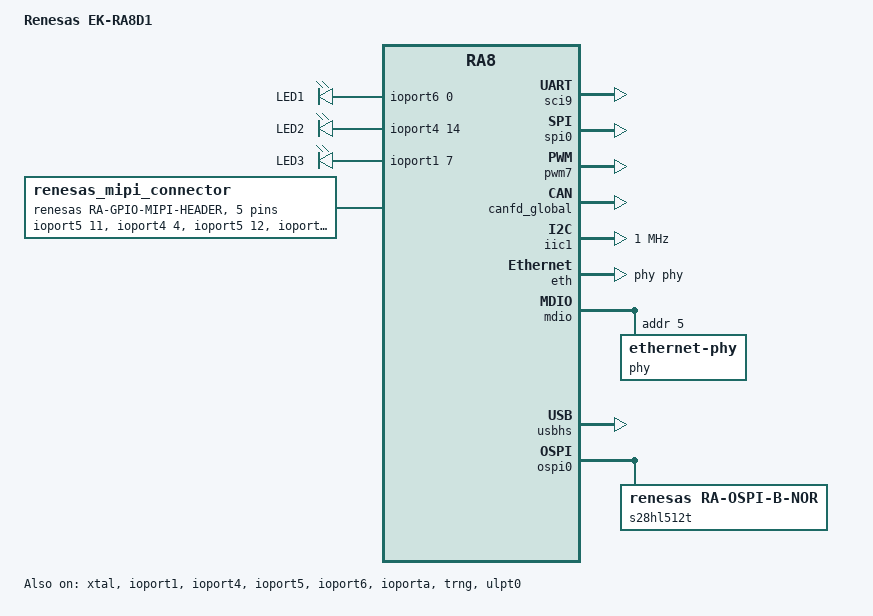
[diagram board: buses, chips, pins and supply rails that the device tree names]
/*
 * Copyright (c) 2024 Renesas Electronics Corporation
 * SPDX-License-Identifier: Apache-2.0
 */

/dts-v1/;

#include <renesas/ra/ra8/r7fa8d1bhecbd.dtsi>
#include <zephyr/dt-bindings/flash_controller/ospi.h>
#include <dt-bindings/gpio/gpio.h>

#include "ek_ra8d1-pinctrl.dtsi"

/ {
	model = "Renesas EK-RA8D1";
	compatible = "renesas,ra8d1", "renesas,ra8";

	chosen {
		zephyr,sram = &sram0;
		zephyr,flash = &flash0;
		zephyr,console = &uart9;
		zephyr,shell-uart = &uart9;
		zephyr,entropy = &trng;
		zephyr,flash-controller = &flash1;
		zephyr,canbus = &canfd0;
	};

	leds {
		compatible = "gpio-leds";
		led1: led1 {
			gpios = <&ioport6 0 GPIO_ACTIVE_HIGH>;
			label = "LED1";
		};
		led2: led2 {
			gpios = <&ioport4 14 GPIO_ACTIVE_HIGH>;
			label = "LED2";
		};
		led3: led3 {
			gpios = <&ioport1 7 GPIO_ACTIVE_HIGH>;
			label = "LED3";
		};
	};

	renesas_mipi_connector: mipi-connector {
		compatible = "renesas,ra-gpio-mipi-header";
		#gpio-cells = <2>;
		gpio-map-mask = <0xffffffff 0xffffffc0>;
		gpio-map-pass-thru = <0 0x3f>;
		gpio-map =	<14 0 &ioport5 11 0>,	/* IIC_SDA */
					<15 0 &ioport4 4 0>,	/* DISP_BLEN */
					<16 0 &ioport5 12 0>,	/* IIC_SCL */
					<17 0 &ioport5 10 0>,	/* DISP_INT */
					<18 0 &ioporta 1 0>;	/* DISP_RST */
	};

	aliases {
		led0 = &led1;
		mipi-dsi = &mipi_dsi;
	};
};

&xtal {
	clock-frequency = <DT_FREQ_M(20)>;
	mosel = <0>;
	#clock-cells = <0>;
	status = "okay";
};

&subclk {
	status = "okay";
};

&pll {
	status = "okay";
	pllp {
		status = "okay";
	};

	pllq {
		status = "okay";
	};

	pllr {
		status = "okay";
	};
};

&pll2 {
	status = "okay";
	clocks = <&xtal>;
	div = <2>;
	mul = <80 0>;
	pll2p {
		status = "okay";
		freq = <DT_FREQ_M(400)>;
		div = <2>;
	};
};

&sciclk {
	clocks = <&pllp>;
	div = <4>;
	status = "okay";
};

&canfdclk {
	clocks = <&pll>;
	div = <5>;
	status = "okay";
};

&lcdclk {
	clocks = <&pll>;
	div = <2>;
	status = "okay";
};

&octaspiclk {
	clocks = <&pll2p>;
	div = <2>;
	status = "okay";
};

&ioport1 {
	status = "okay";
};

&ioport4 {
	status = "okay";
};

&ioport5 {
	status = "okay";
};

&ioport6 {
	status = "okay";
};

&ioporta {
	status = "okay";
};

&sci0 {
	/* sci0 and spi0 cannot be enabled together */
	pinctrl-0 = <&sci9_default>;
	pinctrl-names = "default";
};

&sci9 {
	pinctrl-0 = <&sci9_default>;
	pinctrl-names = "default";
	status = "okay";
	uart9: uart {
		current-speed = <115200>;
		status = "okay";
	};
};

&trng {
	status = "okay";
};

&spi0 {
	pinctrl-0 = <&spi0_default>;
	pinctrl-names = "default";
	status = "okay";
};

&flash1 {
	partitions {
		compatible = "fixed-partitions";
		#address-cells = <1>;
		#size-cells = <1>;

		storage_partition: partition@0 {
			label = "storage";
			reg = <0X0 DT_SIZE_K(12)>;
		};
	};
};

&pwm7 {
	pinctrl-0 = <&pwm7_default>;
	interrupts = <40 1>, <41 1>;
	interrupt-names = "gtioca", "overflow";
	pinctrl-names = "default";
	status = "okay";
};

&ulpt0 {
	status = "okay";
};

&canfd_global {
	status = "okay";
	canfd0 {
		pinctrl-0 = <&canfd0_default>;
		pinctrl-names = "default";
		rx-max-filters = <16>;
		status = "okay";
	};
};

&iic1 {
	#address-cells = <1>;
	#size-cells = <0>;
	clock-frequency = <DT_FREQ_M(1)>;
	pinctrl-0 = <&iic1_default>;
	pinctrl-names = "default";
};

&eth {
	local-mac-address = [74 90 50 B0 5D E9];
	status = "okay";
	phy-handle = <&phy>;
};

&mdio {
	pinctrl-0 = <&ether_default>;
	pinctrl-names = "default";
	status = "okay";

	phy: ethernet-phy@5 {
		compatible = "ethernet-phy";
		reg = <5>;
		status = "okay";
	};
};

&usbhs {
	pinctrl-0 = <&usbhs_default>;
	pinctrl-names = "default";
	maximum-speed = "high-speed";
	status = "okay";
	zephyr_udc0: udc {
		status = "okay";
	};
};

&usbhs_phy {
	phys-clock-src = "xtal";
};

&sdram	{
	status = "okay";
	pinctrl-0 = <&sdram_default>;
	pinctrl-names = "default";
};

zephyr_lcdif: &lcdif {
	pinctrl-0 = <&glcdc_default>;
	pinctrl-names = "default";
};

zephyr_mipi_dsi: &mipi_dsi {};

renesas_mipi_i2c: &iic1{};

&ospi0 {
	pinctrl-0 = <&ospi0_default>;
	pinctrl-names = "default";
	status = "okay";
	s28hl512t: s28hl512t@80000000 {
		compatible = "renesas,ra-ospi-b-nor";
		protocol-mode = <OSPI_OPI_MODE>;
		ospi-max-frequency = <DT_FREQ_M(200)>;
		reg = <0x80000000 DT_SIZE_M(64)>;
		size = <DT_SIZE_M(64)>; /* 512 Mbits */
		write-block-size = <1>;
		status = "okay";
	};
};
